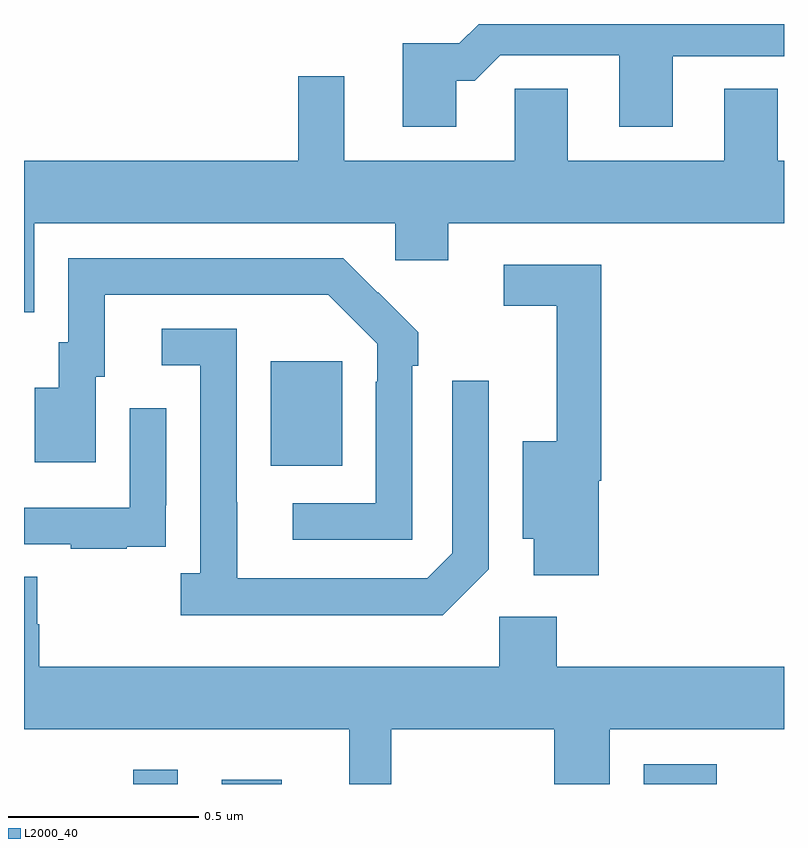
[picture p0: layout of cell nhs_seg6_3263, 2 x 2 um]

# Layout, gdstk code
import gdstk
lib = gdstk.Library(unit=1e-6, precision=1e-09)
def R(c, l, rs):  # rectangles x0, y0, x1, y1
    for r in rs: c.add(gdstk.rectangle(r[:2], r[2:], *l))
def P(c, l, *ps):  # polygons
    for p in ps: c.add(gdstk.Polygon(p, *l))
L2000_40 = (2000, 40)

nhs_seg6_3263 = lib.new_cell('nhs_seg6_3263')
R(nhs_seg6_3263, L2000_40, [(154.288,972.5,154.404,972.538), (154.52,972.5,154.678,972.511), (155.631,972.5,155.823,972.552), (154.649,973.337,154.837,973.612)])
P(nhs_seg6_3263, L2000_40, [(155.137,974.351),(155.186,974.351),(155.253,974.418),(155.567,974.418),(155.567,974.229),(155.707,974.229),(155.707,974.415),(156,974.415),(156,974.5),(155.197,974.5),(155.146,974.449),(154.997,974.449),(154.997,974.229),(155.137,974.229)],
  [(154.027,973.976),(154.977,973.976),(154.977,973.878),(155.116,973.878),(155.116,973.976),(156,973.976),(156,974.14),(155.983,974.14),(155.983,974.33),(155.843,974.33),(155.843,974.14),(155.431,974.14),(155.431,974.33),(155.292,974.33),(155.292,974.14),(154.843,974.14),(154.843,974.362),(154.722,974.362),(154.722,974.14),(154,974.14),(154,973.741),(154.027,973.741)],
  [(155.022,973.601),(155.037,973.601),(155.037,973.689),(154.932,973.794),(154.931,973.793),(154.84,973.884),(154.116,973.884),(154.116,973.662),(154.091,973.662),(154.091,973.543),(154.028,973.543),(154.028,973.347),(154.189,973.347),(154.189,973.572),(154.213,973.572),(154.213,973.788),(154.801,973.788),(154.929,973.659),(154.929,973.559),(154.926,973.559),(154.926,973.239),(154.707,973.239),(154.707,973.143),(155.022,973.143)],
  [(155.513,973.298),(155.519,973.298),(155.519,973.866),(155.262,973.866),(155.262,973.758),(155.402,973.758),(155.402,973.402),(155.312,973.402),(155.312,973.145),(155.342,973.145),(155.342,973.05),(155.513,973.05)],
  [(155.223,973.065),(155.223,973.561),(155.127,973.561),(155.127,973.107),(155.061,973.041),(154.561,973.041),(154.561,973.241),(154.56,973.241),(154.56,973.698),(154.362,973.698),(154.362,973.602),(154.464,973.602),(154.464,973.054),(154.413,973.054),(154.413,972.944),(155.102,972.944)],
  [(154.271,973.125),(154.373,973.125),(154.373,973.234),(154.374,973.234),(154.374,973.489),(154.278,973.489),(154.278,973.227),(154,973.227),(154,973.131),(154.123,973.131),(154.123,973.119),(154.271,973.119)],
  [(154.966,972.644),(155.395,972.644),(155.395,972.5),(155.542,972.5),(155.542,972.644),(156,972.644),(156,972.808),(155.402,972.808),(155.402,972.94),(155.25,972.94),(155.25,972.808),(154.04,972.808),(154.04,972.921),(154.035,972.921),(154.035,973.046),(154,973.046),(154,972.644),(154.856,972.644),(154.856,972.5),(154.966,972.5)])

lib.write_gds('nhs_seg6_3263.gds')
